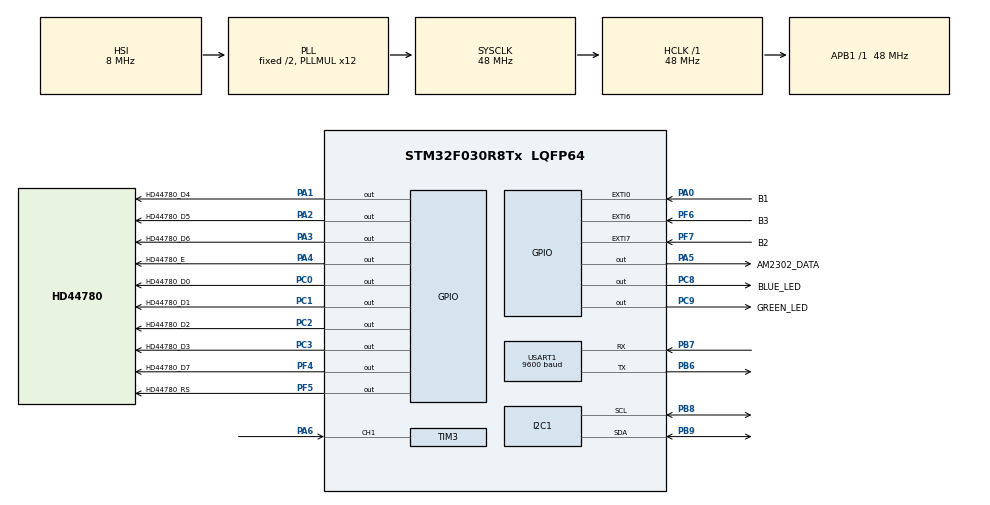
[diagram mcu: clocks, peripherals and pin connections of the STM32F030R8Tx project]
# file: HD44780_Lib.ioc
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Mcu.Family=STM32F0
Mcu.Name=STM32F030R8Tx
Mcu.Package=LQFP64
NVIC.EXTI0_1_IRQn=true\:0\:0\:false\:false\:true\:true
NVIC.EXTI4_15_IRQn=true\:0\:0\:false\:false\:true\:true
NVIC.TIM14_IRQn=true\:0\:0\:false\:false\:true\:true
NVIC.TIM3_IRQn=true\:0\:0\:false\:false\:true\:true
NVIC.USART1_IRQn=true\:0\:0\:false\:false\:true\:true
PA0.GPIO_Label=B1
PA0.GPIO_ModeDefaultEXTI=GPIO_MODE_IT_FALLING
PA0.Signal=GPXTI0
PA1.GPIO_Label=HD44780_D4
PA1.Signal=GPIO_Output
PA13.GPIO_Label=SWDIO
PA13.Mode=Serial_Wire
PA13.Signal=SYS_SWDIO
PA14.GPIO_Label=SWCLK
PA14.Mode=Serial_Wire
PA14.Signal=SYS_SWCLK
PA2.GPIO_Label=HD44780_D5
PA2.Signal=GPIO_Output
PA3.GPIO_Label=HD44780_D6
PA3.Signal=GPIO_Output
PA4.GPIO_Label=HD44780_E
PA4.Signal=GPIO_Output
PA5.GPIO_Label=AM2302_DATA
PA5.GPIO_ModeDefaultOutputPP=GPIO_MODE_OUTPUT_OD
PA5.Signal=GPIO_Output
PA6.Signal=S_TIM3_CH1
PB6.Mode=Asynchronous
PB6.Signal=USART1_TX
PB7.Mode=Asynchronous
PB7.Signal=USART1_RX
PB8.Mode=I2C
PB8.Signal=I2C1_SCL
PB9.Mode=I2C
PB9.Signal=I2C1_SDA
PC0.GPIO_Label=HD44780_D0
PC0.Signal=GPIO_Output
PC1.GPIO_Label=HD44780_D1
PC1.Signal=GPIO_Output
PC2.GPIO_Label=HD44780_D2
PC2.Signal=GPIO_Output
PC3.GPIO_Label=HD44780_D3
PC3.Signal=GPIO_Output
PC8.GPIO_Label=BLUE_LED
PC8.Signal=GPIO_Output
PC9.GPIO_Label=GREEN_LED
PC9.Signal=GPIO_Output
PF4.GPIO_Label=HD44780_D7
PF4.Signal=GPIO_Output
PF5.GPIO_Label=HD44780_RS
PF5.Signal=GPIO_Output
PF6.GPIO_Label=B3
PF6.GPIO_ModeDefaultEXTI=GPIO_MODE_IT_FALLING
PF6.Signal=GPXTI6
PF7.GPIO_Label=B2
PF7.GPIO_ModeDefaultEXTI=GPIO_MODE_IT_FALLING
PF7.Signal=GPXTI7
ProjectManager.HeapSize=0x200
ProjectManager.StackSize=0x400
ProjectManager.TargetToolchain=MDK-ARM V5
RCC.AHBFreq_Value=48000000
RCC.APB1Freq_Value=48000000
RCC.APB1TimFreq_Value=48000000
RCC.HCLKFreq_Value=48000000
RCC.PLLMUL=RCC_PLL_MUL12
RCC.SYSCLKFreq_VALUE=48000000
RCC.SYSCLKSource=RCC_SYSCLKSOURCE_PLLCLK
SH.S_TIM3_CH1.0=TIM3_CH1,Input_Capture1_from_TI1
TIM14.Period=99
TIM14.Prescaler=47999
TIM3.Channel-Input_Capture1_from_TI1=TIM_CHANNEL_1
TIM3.ICFilter_CH1=1
TIM3.ICPolarity_CH1=TIM_INPUTCHANNELPOLARITY_FALLING
TIM3.Period=65535
TIM3.Prescaler=48
USART1.BaudRate=9600
USART1.VirtualMode-Asynchronous=VM_ASYNC
VP_TIM14_VS_ClockSourceINT.Mode=Enable_Timer
VP_TIM3_VS_ClockSourceINT.Mode=Internal
board=32F0308DISCOVERY

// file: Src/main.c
/* USER CODE BEGIN Header */
/**
  ******************************************************************************
  * @file           : main.c
  * @brief          : Main program body
  ******************************************************************************
  ** This notice applies to any and all portions of this file
  * that are not between comment pairs USER CODE BEGIN and
  * USER CODE END. Other portions of this file, whether
  * inserted by the user or by software development tools
  * are owned by their respective copyright owners.
  *
  * COPYRIGHT(c) 2018 STMicroelectronics
  *
  * Redistribution and use in source and binary forms, with or without modification,
  * are permitted provided that the following conditions are met:
  *   1. Redistributions of source code must retain the above copyright notice,
  *      this list of conditions and the following disclaimer.
  *   2. Redistributions in binary form must reproduce the above copyright notice,
  *      this list of conditions and the following disclaimer in the documentation
  *      and/or other materials provided with the distribution.
  *   3. Neither the name of STMicroelectronics nor the names of its contributors
  *      may be used to endorse or promote products derived from this software
  *      without specific prior written permission.
  *
  * THIS SOFTWARE IS PROVIDED BY THE COPYRIGHT HOLDERS AND CONTRIBUTORS "AS IS"
  * AND ANY EXPRESS OR IMPLIED WARRANTIES, INCLUDING, BUT NOT LIMITED TO, THE
  * IMPLIED WARRANTIES OF MERCHANTABILITY AND FITNESS FOR A PARTICULAR PURPOSE ARE
  * DISCLAIMED. IN NO EVENT SHALL THE COPYRIGHT HOLDER OR CONTRIBUTORS BE LIABLE
  * FOR ANY DIRECT, INDIRECT, INCIDENTAL, SPECIAL, EXEMPLARY, OR CONSEQUENTIAL
  * DAMAGES (INCLUDING, BUT NOT LIMITED TO, PROCUREMENT OF SUBSTITUTE GOODS OR
  * SERVICES; LOSS OF USE, DATA, OR PROFITS; OR BUSINESS INTERRUPTION) HOWEVER
  * CAUSED AND ON ANY THEORY OF LIABILITY, WHETHER IN CONTRACT, STRICT LIABILITY,
  * OR TORT (INCLUDING NEGLIGENCE OR OTHERWISE) ARISING IN ANY WAY OUT OF THE USE
  * OF THIS SOFTWARE, EVEN IF ADVISED OF THE POSSIBILITY OF SUCH DAMAGE.
  *
  ******************************************************************************
  */

/* USER CODE END Header */

#include "main.h"

/* USER CODE BEGIN Includes */
#include "stm32f0xx_hd44780.h"
#include "rtc.h"
#include "stdlib.h"
#include "AM2302.h"
#include "rtc.h"

/* USER CODE END Includes */

/* USER CODE BEGIN PD */
enum SetTimePositions
{
	MINUTES = 0,
	HOURS = 1,
	YEAR = 2,
	MONTH = 3,
	DAY = 4,
	NONE = 5
};

/* USER CODE END PD */

I2C_HandleTypeDef hi2c1;

TIM_HandleTypeDef htim3;
TIM_HandleTypeDef htim14;

UART_HandleTypeDef huart1;

/* USER CODE BEGIN PV */
unsigned char helloMessage[] = "Hello!";
unsigned char versionMessage[] = "Clock v1.0";

RTC_DateTime_t *dateTime;

int B2_pushed = 0;
int B2_PushedTime = 0;
int B2_LastPushedTime = 0;

uint8_t UART_received= 0;

//temperature and humidity sensor variables

/* USER CODE END PV */

void SystemClock_Config(void);
static void MX_GPIO_Init(void);
static void MX_TIM14_Init(void);
static void MX_TIM3_Init(void);
static void MX_I2C1_Init(void);
static void MX_USART1_UART_Init(void);
/* USER CODE BEGIN PFP */

void UpdateDateTimeMessage(RTC_DateTime_t *, unsigned char*);
int GetArrowPosition(enum SetTimePositions);
void IncrementDateTime(enum SetTimePositions position);
void UpdateTemperatureMessage(unsigned char*);

/* USER CODE END PFP */

/* USER CODE BEGIN 0 */

void UpdateDateTimeMessage(RTC_DateTime_t *dateTime, unsigned char *dateTimeMessage)
{
	dateTimeMessage[0] = (uint8_t)(0xF & (dateTime->Date >> 4)) + '0';
	dateTimeMessage[1] = (uint8_t)(0xF & dateTime->Date) + '0';

	dateTimeMessage[3] = (uint8_t)(0xF & (dateTime->Month >> 4)) + '0';
	dateTimeMessage[4] = (uint8_t)(0xF & dateTime->Month) + '0';

	dateTimeMessage[6] = '2';
	dateTimeMessage[7] = '0';

	dateTimeMessage[8] = (uint8_t)(0xF & (dateTime->Year >> 4)) + '0';
	dateTimeMessage[9] = (uint8_t)(0xF & dateTime->Year) + '0';

	dateTimeMessage[11] = (uint8_t)(0xF & (dateTime->Hours >> 4)) + '0';
	dateTimeMessage[12] = (uint8_t)(0xF &  dateTime->Hours) + '0';

	dateTimeMessage[14] = (uint8_t)(0xF & (dateTime->Minutes >> 4)) + '0';
	dateTimeMessage[15] = (uint8_t)(0xF &  dateTime->Minutes) + '0';
}

void UpdateTemperatureMessage(unsigned char *message)
{
	uint16_t temperature = AM2302_GetTemperature();
	message[5] = 'C';
	message[4] = (uint8_t)223;
	message[3] = (uint8_t)(temperature % 10) + '0';
	message[2] = ',';
	message[1] = (uint8_t)((temperature % 100) / 10) + '0';
	message[0] = (uint8_t)((temperature % 1000) / 100) + '0';

	uint16_t humidity = AM2302_GetHumidity();
	message[15] = '%';
	message[14] = (uint8_t)(humidity % 10) + '0';
	message[13] = ',';
	message[12] = (uint8_t)((humidity % 100) / 10) + '0';
	message[11] = (uint8_t)((humidity % 1000) / 100) + '0';
	if ((uint8_t)((humidity % 10000) / 1000) == 0)
	{
		message[10] = ' ';
	}
	else
	{
		message[10] = (uint8_t)((humidity % 10000) / 1000) + '0';
	}

	if ((uint8_t)((humidity % 100000) / 10000) == 0)
	{
		message[9] = ' ';
	}
	else
	{
		message[9] = (uint8_t)((humidity % 100000) / 10000) + '0';
	}
}

int GetArrowPosition(enum SetTimePositions position)
{
		int arrowPosition = 0;
		switch (position)
		{
			case MINUTES:
				arrowPosition = 15; break;
			case HOURS:
				arrowPosition = 12; break;
			case YEAR:
				arrowPosition = 9; break;
			case MONTH:
				arrowPosition = 4; break;
			case DAY:
				arrowPosition = 1; break;
			default:
				arrowPosition = -1; break;
		}
		return arrowPosition;
}

void IncrementDateTime(enum SetTimePositions position)
{
		switch (position)
		{
			case MINUTES:
				RTC_IncrementMinutes(&hi2c1); break;
			case HOURS:
				RTC_IncrementHours(&hi2c1); break;
			case YEAR:
				RTC_IncrementYear(&hi2c1); break;
			case MONTH:
				RTC_IncrementMonth(&hi2c1); break;
			case DAY:
				RTC_IncrementDate(&hi2c1); break;
			default:
				break;
		}
}

void SetButtonPushed(void)
{
	B2_pushed = 1;
}

void SetButtonNotPushed(void)
{
	B2_pushed = 0;
}

void IncrementB2PushedTime(void)
{
	B2_PushedTime ++;
}

void ResetB2PushedTime(void)
{
	//longer than 100 ms
	if (B2_PushedTime > 1)
	{
		B2_LastPushedTime = B2_PushedTime;
	}
	B2_PushedTime = 0;
}

/* USER CODE END 0 */

int main(void)
{

  /* MCU Configuration--------------------------------------------------------*/

  /* Reset of all peripherals, Initializes the Flash interface and the Systick. */
  HAL_Init();

  /* Configure the system clock */
  SystemClock_Config();

  /* Initialize all configured peripherals */
  MX_GPIO_Init();
  MX_TIM14_Init();
  MX_TIM3_Init();
  MX_I2C1_Init();
  MX_USART1_UART_Init();
  /* USER CODE BEGIN 2 */
	HD44780_Initialize();

	/*HD44780_SendCommand(72);
	HAL_Delay(100);*/

  /* USER CODE END 2 */

  /* Infinite loop */
  /* USER CODE BEGIN WHILE */
	HD44780_SendMessage(helloMessage);
	HAL_Delay(1000);
	HD44780_GoToSecondLine();
	HD44780_SendMessage(versionMessage);
	HAL_Delay(2000);
	HD44780_GoToFirstLine();

	uint8_t prevMinutes = -1;
	unsigned char dateTimeMessage[] = "  .  .       :  ";
	unsigned char secondLineMessage[] = "                ";

	enum SetTimePositions currentPosition = NONE;

	HAL_NVIC_EnableIRQ(TIM14_IRQn);
	HAL_TIM_Base_Start_IT(&htim14);

	HAL_TIM_IC_Start_IT(&htim3, TIM_CHANNEL_1);

	dateTime =  RTC_InitializeDateTime(&hi2c1);

	HAL_UART_Receive_IT(&huart1, &UART_received, 1);

	while (1)
  {
		RTC_RefreshDateTime(&hi2c1, dateTime);
		int arrowPosition = -1;

		if (dateTime->Minutes != prevMinutes || B2_pushed || B2_LastPushedTime > 0)
		{
			AM2302_SendRequest();

			//If button hold for over 2s
			if (B2_pushed && B2_PushedTime > 20)
			{
				IncrementDateTime(currentPosition);
				RTC_RefreshDateTime(&hi2c1, dateTime);
			}
			prevMinutes = dateTime->Minutes;
			UpdateDateTimeMessage(dateTime, dateTimeMessage);
			HD44780_Clear();
			HD44780_SendMessage(dateTimeMessage);
			HAL_Delay(100);
			HD44780_GoToSecondLine();
			//0.1s - 1s
			if(B2_LastPushedTime > 1 && B2_LastPushedTime < 10)
			{
				if(currentPosition == NONE)
				{
					currentPosition = MINUTES;
				}
				else
				{
					currentPosition++;
				}
				arrowPosition = GetArrowPosition(currentPosition);

				for (int i=0; i<strlen((const char*)secondLineMessage); i++)
				{
					if (i != arrowPosition)
					{
						secondLineMessage[i] = ' ';
					}
					else
					{
						secondLineMessage[i] = '^';
					}
				}
			}
			else if (currentPosition == NONE)
			{
				UpdateTemperatureMessage(secondLineMessage);
			}
			if(B2_LastPushedTime > 0)
			{
				B2_LastPushedTime = 0;
			}

			HD44780_SendMessage(secondLineMessage);
			HAL_Delay(100);
			HD44780_GoToFirstLine();
		}

		HAL_Delay(800);
    /* USER CODE END WHILE */

  }
}

void SystemClock_Config(void)
{
  RCC_OscInitTypeDef RCC_OscInitStruct = {0};
  RCC_ClkInitTypeDef RCC_ClkInitStruct = {0};
  RCC_PeriphCLKInitTypeDef PeriphClkInit = {0};

  /**Initializes the CPU, AHB and APB busses clocks
  */
  RCC_OscInitStruct.OscillatorType = RCC_OSCILLATORTYPE_HSI;
  RCC_OscInitStruct.HSIState = RCC_HSI_ON;
  RCC_OscInitStruct.HSICalibrationValue = RCC_HSICALIBRATION_DEFAULT;
  RCC_OscInitStruct.PLL.PLLState = RCC_PLL_ON;
  RCC_OscInitStruct.PLL.PLLSource = RCC_PLLSOURCE_HSI;
  RCC_OscInitStruct.PLL.PLLMUL = RCC_PLL_MUL12;
  RCC_OscInitStruct.PLL.PREDIV = RCC_PREDIV_DIV1;
  if (HAL_RCC_OscConfig(&RCC_OscInitStruct) != HAL_OK)
  {
    Error_Handler();
  }
  /**Initializes the CPU, AHB and APB busses clocks
  */
  RCC_ClkInitStruct.ClockType = RCC_CLOCKTYPE_HCLK|RCC_CLOCKTYPE_SYSCLK
                              |RCC_CLOCKTYPE_PCLK1;
  RCC_ClkInitStruct.SYSCLKSource = RCC_SYSCLKSOURCE_PLLCLK;
  RCC_ClkInitStruct.AHBCLKDivider = RCC_SYSCLK_DIV1;
  RCC_ClkInitStruct.APB1CLKDivider = RCC_HCLK_DIV1;

  if (HAL_RCC_ClockConfig(&RCC_ClkInitStruct, FLASH_LATENCY_1) != HAL_OK)
  {
    Error_Handler();
  }
  PeriphClkInit.PeriphClockSelection = RCC_PERIPHCLK_USART1|RCC_PERIPHCLK_I2C1;
  PeriphClkInit.Usart1ClockSelection = RCC_USART1CLKSOURCE_PCLK1;
  PeriphClkInit.I2c1ClockSelection = RCC_I2C1CLKSOURCE_HSI;
  if (HAL_RCCEx_PeriphCLKConfig(&PeriphClkInit) != HAL_OK)
  {
    Error_Handler();
  }
}

static void MX_I2C1_Init(void)
{

  hi2c1.Instance = I2C1;
  hi2c1.Init.Timing = 0x2000090E;
  hi2c1.Init.OwnAddress1 = 0;
  hi2c1.Init.AddressingMode = I2C_ADDRESSINGMODE_7BIT;
  hi2c1.Init.DualAddressMode = I2C_DUALADDRESS_DISABLE;
  hi2c1.Init.OwnAddress2 = 0;
  hi2c1.Init.OwnAddress2Masks = I2C_OA2_NOMASK;
  hi2c1.Init.GeneralCallMode = I2C_GENERALCALL_DISABLE;
  hi2c1.Init.NoStretchMode = I2C_NOSTRETCH_DISABLE;
  if (HAL_I2C_Init(&hi2c1) != HAL_OK)
  {
    Error_Handler();
  }
  /**Configure Analogue filter
  */
  if (HAL_I2CEx_ConfigAnalogFilter(&hi2c1, I2C_ANALOGFILTER_ENABLE) != HAL_OK)
  {
    Error_Handler();
  }
  /**Configure Digital filter
  */
  if (HAL_I2CEx_ConfigDigitalFilter(&hi2c1, 0) != HAL_OK)
  {
    Error_Handler();
  }

}

static void MX_TIM3_Init(void)
{

  TIM_ClockConfigTypeDef sClockSourceConfig = {0};
  TIM_MasterConfigTypeDef sMasterConfig = {0};
  TIM_IC_InitTypeDef sConfigIC = {0};

  htim3.Instance = TIM3;
  htim3.Init.Prescaler = 48;
  htim3.Init.CounterMode = TIM_COUNTERMODE_UP;
  htim3.Init.Period = 65535;
  htim3.Init.ClockDivision = TIM_CLOCKDIVISION_DIV1;
  htim3.Init.AutoReloadPreload = TIM_AUTORELOAD_PRELOAD_DISABLE;
  if (HAL_TIM_Base_Init(&htim3) != HAL_OK)
  {
    Error_Handler();
  }
  sClockSourceConfig.ClockSource = TIM_CLOCKSOURCE_INTERNAL;
  if (HAL_TIM_ConfigClockSource(&htim3, &sClockSourceConfig) != HAL_OK)
  {
    Error_Handler();
  }
  if (HAL_TIM_IC_Init(&htim3) != HAL_OK)
  {
    Error_Handler();
  }
  sMasterConfig.MasterOutputTrigger = TIM_TRGO_RESET;
  sMasterConfig.MasterSlaveMode = TIM_MASTERSLAVEMODE_DISABLE;
  if (HAL_TIMEx_MasterConfigSynchronization(&htim3, &sMasterConfig) != HAL_OK)
  {
    Error_Handler();
  }
  sConfigIC.ICPolarity = TIM_INPUTCHANNELPOLARITY_FALLING;
  sConfigIC.ICSelection = TIM_ICSELECTION_DIRECTTI;
  sConfigIC.ICPrescaler = TIM_ICPSC_DIV1;
  sConfigIC.ICFilter = 1;
  if (HAL_TIM_IC_ConfigChannel(&htim3, &sConfigIC, TIM_CHANNEL_1) != HAL_OK)
  {
    Error_Handler();
  }

}

static void MX_TIM14_Init(void)
{

  htim14.Instance = TIM14;
  htim14.Init.Prescaler = 47999;
  htim14.Init.CounterMode = TIM_COUNTERMODE_UP;
  htim14.Init.Period = 99;
  htim14.Init.ClockDivision = TIM_CLOCKDIVISION_DIV1;
  htim14.Init.AutoReloadPreload = TIM_AUTORELOAD_PRELOAD_DISABLE;
  if (HAL_TIM_Base_Init(&htim14) != HAL_OK)
  {
    Error_Handler();
  }

}

static void MX_USART1_UART_Init(void)
{

  huart1.Instance = USART1;
  huart1.Init.BaudRate = 9600;
  huart1.Init.WordLength = UART_WORDLENGTH_8B;
  huart1.Init.StopBits = UART_STOPBITS_1;
  huart1.Init.Parity = UART_PARITY_NONE;
  huart1.Init.Mode = UART_MODE_TX_RX;
  huart1.Init.HwFlowCtl = UART_HWCONTROL_NONE;
  huart1.Init.OverSampling = UART_OVERSAMPLING_16;
  huart1.Init.OneBitSampling = UART_ONE_BIT_SAMPLE_DISABLE;
  huart1.AdvancedInit.AdvFeatureInit = UART_ADVFEATURE_NO_INIT;
  if (HAL_UART_Init(&huart1) != HAL_OK)
  {
    Error_Handler();
  }

}

static void MX_GPIO_Init(void)
{
  GPIO_InitTypeDef GPIO_InitStruct = {0};

  /* GPIO Ports Clock Enable */
  __HAL_RCC_GPIOC_CLK_ENABLE();
  __HAL_RCC_GPIOA_CLK_ENABLE();
  __HAL_RCC_GPIOF_CLK_ENABLE();
  __HAL_RCC_GPIOB_CLK_ENABLE();

  /*Configure GPIO pin Output Level */
  HAL_GPIO_WritePin(GPIOC, HD44780_D0_Pin|HD44780_D1_Pin|HD44780_D2_Pin|HD44780_D3_Pin
                          |BLUE_LED_Pin|GREEN_LED_Pin, GPIO_PIN_RESET);

  /*Configure GPIO pin Output Level */
  HAL_GPIO_WritePin(GPIOA, HD44780_D4_Pin|HD44780_D5_Pin|HD44780_D6_Pin|HD44780_E_Pin
                          |AM2302_DATA_Pin, GPIO_PIN_RESET);

  /*Configure GPIO pin Output Level */
  HAL_GPIO_WritePin(GPIOF, HD44780_D7_Pin|HD44780_RS_Pin, GPIO_PIN_RESET);

  /*Configure GPIO pins : HD44780_D0_Pin HD44780_D1_Pin HD44780_D2_Pin HD44780_D3_Pin
                           BLUE_LED_Pin GREEN_LED_Pin */
  GPIO_InitStruct.Pin = HD44780_D0_Pin|HD44780_D1_Pin|HD44780_D2_Pin|HD44780_D3_Pin
                          |BLUE_LED_Pin|GREEN_LED_Pin;
  GPIO_InitStruct.Mode = GPIO_MODE_OUTPUT_PP;
  GPIO_InitStruct.Pull = GPIO_NOPULL;
  GPIO_InitStruct.Speed = GPIO_SPEED_FREQ_LOW;
  HAL_GPIO_Init(GPIOC, &GPIO_InitStruct);

  /*Configure GPIO pin : B1_Pin */
  GPIO_InitStruct.Pin = B1_Pin;
  GPIO_InitStruct.Mode = GPIO_MODE_IT_FALLING;
  GPIO_InitStruct.Pull = GPIO_NOPULL;
  HAL_GPIO_Init(B1_GPIO_Port, &GPIO_InitStruct);

  /*Configure GPIO pins : HD44780_D4_Pin HD44780_D5_Pin HD44780_D6_Pin HD44780_E_Pin */
  GPIO_InitStruct.Pin = HD44780_D4_Pin|HD44780_D5_Pin|HD44780_D6_Pin|HD44780_E_Pin;
  GPIO_InitStruct.Mode = GPIO_MODE_OUTPUT_PP;
  GPIO_InitStruct.Pull = GPIO_NOPULL;
  GPIO_InitStruct.Speed = GPIO_SPEED_FREQ_LOW;
  HAL_GPIO_Init(GPIOA, &GPIO_InitStruct);

  /*Configure GPIO pins : HD44780_D7_Pin HD44780_RS_Pin */
  GPIO_InitStruct.Pin = HD44780_D7_Pin|HD44780_RS_Pin;
  GPIO_InitStruct.Mode = GPIO_MODE_OUTPUT_PP;
  GPIO_InitStruct.Pull = GPIO_NOPULL;
  GPIO_InitStruct.Speed = GPIO_SPEED_FREQ_LOW;
  HAL_GPIO_Init(GPIOF, &GPIO_InitStruct);

  /*Configure GPIO pin : AM2302_DATA_Pin */
  GPIO_InitStruct.Pin = AM2302_DATA_Pin;
  GPIO_InitStruct.Mode = GPIO_MODE_OUTPUT_OD;
  GPIO_InitStruct.Pull = GPIO_NOPULL;
  GPIO_InitStruct.Speed = GPIO_SPEED_FREQ_LOW;
  HAL_GPIO_Init(AM2302_DATA_GPIO_Port, &GPIO_InitStruct);

  /*Configure GPIO pins : B3_Pin B2_Pin */
  GPIO_InitStruct.Pin = B3_Pin|B2_Pin;
  GPIO_InitStruct.Mode = GPIO_MODE_IT_FALLING;
  GPIO_InitStruct.Pull = GPIO_NOPULL;
  HAL_GPIO_Init(GPIOF, &GPIO_InitStruct);

  /* EXTI interrupt init*/
  HAL_NVIC_SetPriority(EXTI0_1_IRQn, 0, 0);
  HAL_NVIC_EnableIRQ(EXTI0_1_IRQn);

  HAL_NVIC_SetPriority(EXTI4_15_IRQn, 0, 0);
  HAL_NVIC_EnableIRQ(EXTI4_15_IRQn);

}

void Error_Handler(void)
{
}

/************************ (C) COPYRIGHT STMicroelectronics *****END OF FILE****/
